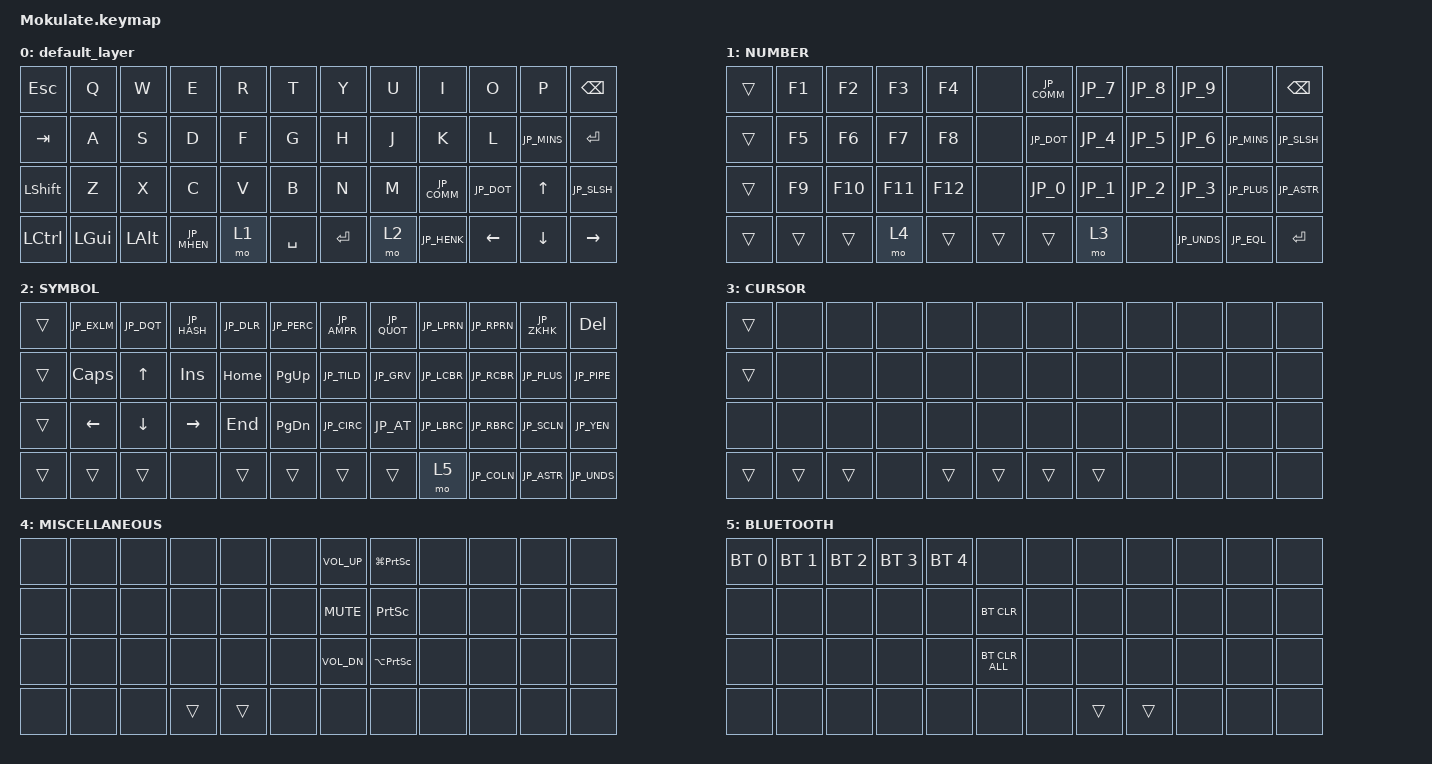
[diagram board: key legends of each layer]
#include <behaviors.dtsi>
#include <dt-bindings/zmk/bt.h>
#include <dt-bindings/zmk/keys.h>
#include "jis_keys.h"

/ {
    keymap {
        compatible = "zmk,keymap";

        default_layer {
            bindings = <
&kp ESC    &kp Q     &kp W     &kp E        &kp R   &kp T           &kp Y      &kp U   &kp I         &kp O        &kp P          &kp BSPC
&kp TAB    &kp A     &kp S     &kp D        &kp F   &kp G           &kp H      &kp J   &kp K         &kp L        &kp JP_MINS   &kp ENTER
&kp LSHFT  &kp Z     &kp X     &kp C        &kp V   &kp B           &kp N      &kp M   &kp JP_COMM   &kp JP_DOT   &kp UP         &kp JP_SLSH
&kp LCTRL  &kp LGUI  &kp LALT  &kp JP_MHEN  &mo 1   &kp SPACE       &kp ENTER  &mo 2   &kp JP_HENK   &kp LEFT     &kp DOWN       &kp RIGHT
            >;
        };

        NUMBER {
            bindings = <
&trans   &kp F1   &kp F2    &kp F3    &kp F4    &none          &kp JP_COMM    &kp JP_7   &kp JP_8   &kp JP_9      &none         &kp BSPC
&trans   &kp F5   &kp F6    &kp F7    &kp F8    &none          &kp JP_DOT     &kp JP_4   &kp JP_5   &kp JP_6      &kp JP_MINS   &kp JP_SLSH
&trans   &kp F9   &kp F10   &kp F11   &kp F12   &none          &kp JP_0       &kp JP_1   &kp JP_2   &kp JP_3      &kp JP_PLUS   &kp JP_ASTR
&trans   &trans   &trans    &mo 4     &trans    &trans         &trans         &mo 3      &none      &kp JP_UNDS   &kp JP_EQL    &kp ENTER
            >;
        };

        SYMBOL {
            bindings = <
&trans   &kp JP_EXLM   &kp JP_DQT   &kp JP_HASH   &kp JP_DLR    &kp JP_PERC          &kp JP_AMPR    &kp JP_QUOT   &kp JP_LPRN   &kp JP_RPRN   &kp JP_ZKHK   &kp DEL
&trans   &kp CAPS      &kp UP       &kp INS       &kp HOME      &kp PG_UP            &kp JP_TILD    &kp JP_GRV    &kp JP_LCBR   &kp JP_RCBR   &kp JP_PLUS   &kp JP_PIPE
&trans   &kp LEFT      &kp DOWN     &kp RIGHT     &kp END       &kp PG_DN            &kp JP_CIRC    &kp JP_AT     &kp JP_LBRC   &kp JP_RBRC   &kp JP_SCLN   &kp JP_YEN
&trans   &trans        &trans       &none         &trans        &trans               &trans         &trans        &mo 5         &kp JP_COLN   &kp JP_ASTR   &kp JP_UNDS
            >; 
        };


        CURSOR {
            bindings = <
&trans   &none    &none    &none    &none    &none           &none    &none    &none    &none    &none    &none 
&trans   &none    &none    &none    &none    &none           &none    &none    &none    &none    &none    &none 
&none    &none    &none    &none    &none    &none           &none    &none    &none    &none    &none    &none 
&trans   &trans   &trans   &none    &trans   &trans          &trans   &trans   &none    &none    &none    &none
            >;
        };

        MISCELLANEOUS {
            bindings = <
&none   &none   &none   &none    &none    &none        &kp C_VOL_UP   &kp LG(PSCRN)   &none   &none   &none   &none
&none   &none   &none   &none    &none    &none        &kp C_MUTE     &kp PSCRN       &none   &none   &none   &none
&none   &none   &none   &none    &none    &none        &kp C_VOL_DN   &kp LA(PSCRN)   &none   &none   &none   &none
&none   &none   &none   &trans   &trans   &none        &none          &none           &none   &none   &none   &none
            >;
        };
        BLUETOOTH {
            bindings = <
&bt BT_SEL 0   &bt BT_SEL 1   &bt BT_SEL 2   &bt BT_SEL 3   &bt BT_SEL 4   &none                 &none   &none    &none    &none   &none   &none
&none          &none          &none          &none          &none          &bt BT_CLR            &none   &none    &none    &none   &none   &none
&none          &none          &none          &none          &none          &bt BT_CLR_ALL        &none   &none    &none    &none   &none   &none
&none          &none          &none          &none          &none          &none                 &none   &trans   &trans   &none   &none   &none
            >;
        };
    };
};
